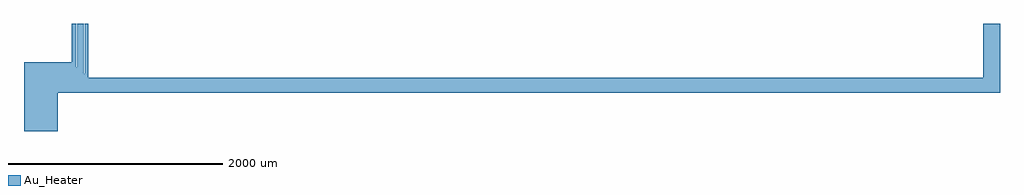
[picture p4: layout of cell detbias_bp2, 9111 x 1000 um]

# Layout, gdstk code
import gdstk
lib = gdstk.Library(unit=1e-6, precision=1e-09)
def P(c, l, *ps):  # polygons
    for p in ps: c.add(gdstk.Polygon(p, *l))
Au_Heater = (9, 0)

detbias_bp2 = lib.new_cell('detbias_bp2')
P(detbias_bp2, Au_Heater, [(-12857.5,53750),(-12857.5,54392),(-12412.5,54392),(-12412.5,54750),(-12407.5,54750),(-12407.5,54387),(-12852.5,54387),(-12852.5,53750)],
  [(-12847.5,53750),(-12847.5,54383),(-12402.5,54383),(-12402.5,54750),(-12397.5,54750),(-12397.5,54378),(-12842.5,54378),(-12842.5,53750)],
  [(-12837.5,53750),(-12837.5,54374),(-12392.5,54374),(-12392.5,54750),(-12387.5,54750),(-12387.5,54369),(-12832.5,54369),(-12832.5,53750)],
  [(-12827.5,53750),(-12827.5,54365),(-12382.5,54365),(-12382.5,54750),(-12377.5,54750),(-12377.5,54360),(-12822.5,54360),(-12822.5,53750)],
  [(-12817.5,53750),(-12817.5,54356),(-12372.5,54356),(-12372.5,54750),(-12367.5,54750),(-12367.5,54351),(-12812.5,54351),(-12812.5,53750)],
  [(-12807.5,53750),(-12807.5,54347),(-12362.5,54347),(-12362.5,54750),(-12357.5,54750),(-12357.5,54342),(-12802.5,54342),(-12802.5,53750)],
  [(-12797.5,53750),(-12797.5,54338),(-12352.5,54338),(-12352.5,54750),(-12347.5,54750),(-12347.5,54333),(-12792.5,54333),(-12792.5,53750)],
  [(-12787.5,53750),(-12787.5,54329),(-12342.5,54329),(-12342.5,54750),(-12337.5,54750),(-12337.5,54324),(-12782.5,54324),(-12782.5,53750)],
  [(-12777.5,53750),(-12777.5,54320),(-12332.5,54320),(-12332.5,54750),(-12327.5,54750),(-12327.5,54315),(-12772.5,54315),(-12772.5,53750)],
  [(-12767.5,53750),(-12767.5,54311),(-12322.5,54311),(-12322.5,54750),(-12317.5,54750),(-12317.5,54306),(-12762.5,54306),(-12762.5,53750)],
  [(-12757.5,53750),(-12757.5,54302),(-12312.5,54302),(-12312.5,54750),(-12307.5,54750),(-12307.5,54297),(-12752.5,54297),(-12752.5,53750)],
  [(-12747.5,53750),(-12747.5,54293),(-12302.5,54293),(-12302.5,54750),(-12297.5,54750),(-12297.5,54288),(-12742.5,54288),(-12742.5,53750)],
  [(-12737.5,53750),(-12737.5,54284),(-12292.5,54284),(-12292.5,54750),(-12287.5,54750),(-12287.5,54279),(-12732.5,54279),(-12732.5,53750)],
  [(-12727.5,53750),(-12727.5,54275),(-12282.5,54275),(-12282.5,54750),(-12277.5,54750),(-12277.5,54270),(-12722.5,54270),(-12722.5,53750)],
  [(-12717.5,53750),(-12717.5,54266),(-12272.5,54266),(-12272.5,54750),(-12267.5,54750),(-12267.5,54261),(-12712.5,54261),(-12712.5,53750)],
  [(-12707.5,53750),(-12707.5,54257),(-12262.5,54257),(-12262.5,54750),(-12257.5,54750),(-12257.5,54252),(-12702.5,54252),(-12702.5,53750)],
  [(-12697.5,53750),(-12697.5,54248),(-3901.5,54248),(-3901.5,54750),(-3896.5,54750),(-3896.5,54243),(-12692.5,54243),(-12692.5,53750)],
  [(-12687.5,53750),(-12687.5,54239),(-3891.5,54239),(-3891.5,54750),(-3886.5,54750),(-3886.5,54234),(-12682.5,54234),(-12682.5,53750)],
  [(-12677.5,53750),(-12677.5,54230),(-3881.5,54230),(-3881.5,54750),(-3876.5,54750),(-3876.5,54225),(-12672.5,54225),(-12672.5,53750)],
  [(-12667.5,53750),(-12667.5,54221),(-3871.5,54221),(-3871.5,54750),(-3866.5,54750),(-3866.5,54216),(-12662.5,54216),(-12662.5,53750)],
  [(-12657.5,53750),(-12657.5,54212),(-3861.5,54212),(-3861.5,54750),(-3856.5,54750),(-3856.5,54207),(-12652.5,54207),(-12652.5,53750)],
  [(-12647.5,53750),(-12647.5,54203),(-3851.5,54203),(-3851.5,54750),(-3846.5,54750),(-3846.5,54198),(-12642.5,54198),(-12642.5,53750)],
  [(-12637.5,53750),(-12637.5,54194),(-3841.5,54194),(-3841.5,54750),(-3836.5,54750),(-3836.5,54189),(-12632.5,54189),(-12632.5,53750)],
  [(-12627.5,53750),(-12627.5,54185),(-3831.5,54185),(-3831.5,54750),(-3826.5,54750),(-3826.5,54180),(-12622.5,54180),(-12622.5,53750)],
  [(-12617.5,53750),(-12617.5,54176),(-3821.5,54176),(-3821.5,54750),(-3816.5,54750),(-3816.5,54171),(-12612.5,54171),(-12612.5,53750)],
  [(-12607.5,53750),(-12607.5,54167),(-3811.5,54167),(-3811.5,54750),(-3806.5,54750),(-3806.5,54162),(-12602.5,54162),(-12602.5,53750)],
  [(-12597.5,53750),(-12597.5,54158),(-3801.5,54158),(-3801.5,54750),(-3796.5,54750),(-3796.5,54153),(-12592.5,54153),(-12592.5,53750)],
  [(-12587.5,53750),(-12587.5,54149),(-3791.5,54149),(-3791.5,54750),(-3786.5,54750),(-3786.5,54144),(-12582.5,54144),(-12582.5,53750)],
  [(-12577.5,53750),(-12577.5,54140),(-3781.5,54140),(-3781.5,54750),(-3776.5,54750),(-3776.5,54135),(-12572.5,54135),(-12572.5,53750)],
  [(-12567.5,53750),(-12567.5,54131),(-3771.5,54131),(-3771.5,54750),(-3766.5,54750),(-3766.5,54126),(-12562.5,54126),(-12562.5,53750)],
  [(-12557.5,53750),(-12557.5,54122),(-3761.5,54122),(-3761.5,54750),(-3756.5,54750),(-3756.5,54117),(-12552.5,54117),(-12552.5,53750)],
  [(-12547.5,53750),(-12547.5,54113),(-3751.5,54113),(-3751.5,54750),(-3746.5,54750),(-3746.5,54108),(-12542.5,54108),(-12542.5,53750)])

lib.write_gds('detbias_bp2.gds')
